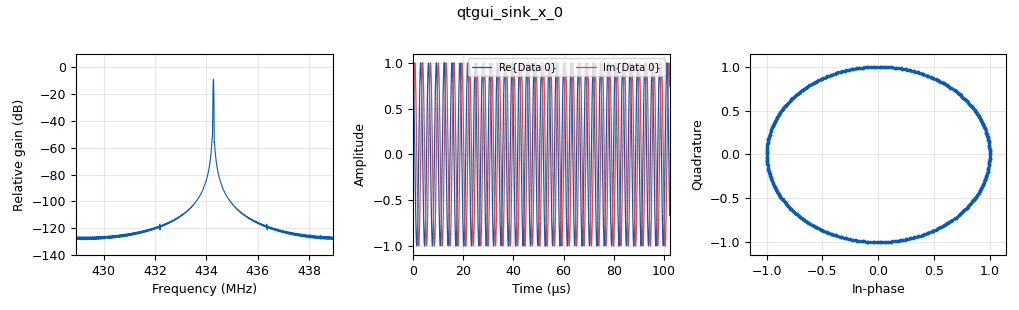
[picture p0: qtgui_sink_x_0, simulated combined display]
options:
  parameters:
    author: kesenheimer
    generate_options: qt_gui
    id: ford_tx_freq
    output_language: python
    title: Not titled yet
  states: {}

blocks:
- name: bits_per_second
  id: variable
  parameters:
    value: '4166'
  states: {}
- name: freq
  id: variable
  parameters:
    value: '433930000'
  states: {}
- name: freq_offset
  id: variable
  parameters:
    value: '330000'
  states: {}
- name: freq_spread
  id: variable
  parameters:
    comment: Distance of the two fsk frequencies
    value: '20000'
  states: {}
- name: payload
  id: variable
  parameters:
    value: str("\x55\x55\x55\x55\x55\x55\x55\x55\x55\x55\x55\x55\x55\x55\x55\x55\x35\x55\x4c\xb5\x2b\x34\xb4\xb3\x2d\x4b\x2b\x53\x4a\xab\x32\xaa\xb2\xb5\x2c\xd2\xd3\x54\xab\x52\xb5\x4b\x41\xff")
  states: {}
- name: samp_rate
  id: variable
  parameters:
    value: '10000000'
  states: {}
- name: sensitivity
  id: variable
  parameters:
    value: 2 * math.pi * freq_spread
  states: {}
- name: analog_sig_source_x_0
  id: analog_sig_source_x
  parameters:
    amp: '1'
    freq: '0'
    offset: '0'
    phase: '0'
    samp_rate: samp_rate
    showports: 'True'
    type: complex
    waveform: analog.GR_COS_WAVE
  states: {}
- name: blocks_add_const_vxx_0
  id: blocks_add_const_vxx
  parameters:
    const: 2 * math.pi * (- freq_spread / 2) / sensitivity
    type: float
  states: {}
- name: blocks_file_sink_0
  id: blocks_file_sink
  parameters:
    file: Simulation_Ford_433.93MHz_10Msps.raw
    type: complex
  states: {state: disabled}
- name: blocks_message_debug_0
  id: blocks_message_debug
  parameters: {}
  states: {state: disabled}
- name: blocks_multiply_const_vxx_0
  id: blocks_multiply_const_vxx
  parameters:
    const: 2 * math.pi * freq_spread / sensitivity
    type: float
  states: {}
- name: blocks_multiply_xx_0
  id: blocks_multiply_xx
  parameters:
    type: complex
  states: {}
- name: blocks_repeat_0
  id: blocks_repeat
  parameters:
    interp: int(samp_rate/bits_per_second)
    type: float
  states: {}
- name: blocks_stream_to_tagged_stream_0
  id: blocks_stream_to_tagged_stream
  parameters:
    len_tag_key: '"packet_len"'
    packet_len: '1'
    type: complex
  states: {state: disabled}
- name: blocks_uchar_to_float_0
  id: blocks_uchar_to_float
  parameters: {}
  states: {}
- name: blocks_unpack_k_bits_bb_0
  id: blocks_unpack_k_bits_bb
  parameters:
    k: '8'
  states: {}
- name: blocks_vco_c_0
  id: blocks_vco_c
  parameters:
    amplitude: '1'
    samp_rate: samp_rate
    sensitivity: "sensitivity\t\t"
  states: {}
- name: epy_block_0
  id: epy_block
  parameters:
    _source_code: |-
      """
      Synchronized fsk message block
      """

      #  epy_block_0.py
      #  created 10/17/2019

      import numpy as np
      from gnuradio import gr
      import pmt
      import threading
      import time

      run = 1

      class fsk_message_sync_block(gr.sync_block):
          def __init__(self, payload: str = "", freq_offset: int = 0, period: int = 1000, pause: int = 50):
              gr.sync_block.__init__(self,
                  name = "Synchronized FSK message block",
                  in_sig = None,
                  out_sig = None) # [np.byte]
              self.message_port_register_in(pmt.intern('msg_in'))
              self.message_port_register_out(pmt.intern('freq'))
              self.message_port_register_out(pmt.intern('payload'))
              self.set_msg_handler(pmt.intern('msg_in'), self.handle_msg)
              self.payload = payload
              self.freq_offset = freq_offset
              self.period = period
              self.pause = pause

          def start(self):
              self.x = threading.Thread(target=self.run, args=())
              print("Starting FSK payload generation thread")
              self.x.start()

          def stop(self):
              print("Stopping FSK payload generation thread")
              global run
              run = 0
              self.x.join()
              return True

          def handle_msg(self, msg):
              print(msg)
          
          def work(self, input_items, output_items):
              #_len = len(self.payload)
              #if _len > 0:
              #    for x in range(_len):
              #        output_items[0][x] = ord(self.payload[x])
              #        return (_len)
              #else:
              #    return 0
              pass

          def send_payload(self, freq_offset):
              freq_msg = pmt.dict_add(pmt.make_dict(), pmt.intern("freq"), pmt.from_double(freq_offset))
              payload_bytes = [ord(i) for i in self.payload]
              payload_msg = pmt.cons(pmt.PMT_NIL, pmt.init_u8vector(len(payload_bytes), payload_bytes))
              self.message_port_pub(pmt.intern('freq'), freq_msg)
              self.message_port_pub(pmt.intern('payload'), payload_msg)

          def run(self):
              global run
              while run:
                  self.send_payload(self.freq_offset)
                  time.sleep(self.pause / 1000)
                  self.send_payload(-self.freq_offset)
                  time.sleep(self.pause / 1000)
                  self.send_payload(self.freq_offset)
                  time.sleep(self.period / 1000)
    freq_offset: freq_offset
    pause: '500'
    payload: payload
    period: '2000'
  states: {}
- name: epy_block_0_0
  id: epy_block
  parameters:
    _source_code: |-
      """
      Synchronized fsk message block
      """

      #  epy_block_0.py
      #  created 10/17/2019

      import numpy as np
      from gnuradio import gr
      import pmt
      import threading
      import time

      class fsk_message_sync_block(gr.sync_block):
          """
          For example:
          payload: Payload string to send
          freq_offset: 
          bits_per_second:
          period: [ms]
          pause: [ms]
          """
          def __init__(self, payload: str = "", freq_offset: int = 0, 
                       bits_per_second: int = 0, period: int = 1000, pause: int = 50):
              gr.sync_block.__init__(self,
                  name = "Synchronized FSK message block",
                  in_sig = None,
                  out_sig = [np.byte])
              self.message_port_register_in(pmt.intern('msg_in'))
              self.message_port_register_out(pmt.intern('freq'))
              self.set_msg_handler(pmt.intern('msg_in'), self.handle_msg)
              self.payload = payload
              self.freq_offset = freq_offset
              self.bits_per_second = bits_per_second
              self.period = period
              self.pause = pause

          def handle_msg(self, msg):
              print(msg)
          
          def set_payload(self, output_items, payload, freq_offset):
              freq_msg = pmt.dict_add(pmt.make_dict(), pmt.intern("freq"), pmt.from_double(freq_offset))
              self.message_port_pub(pmt.intern('freq'), freq_msg)
              _len = len(payload)
              if _len > 0:
                  for x in range(_len):
                      output_items[0][x] = ord(payload[x])
                      return _len
              else:
                  return 0
              

          def work(self, input_items, output_items):
              nitems = self.set_payload(output_items, self.payload, self.freq_offset)
              nbytes_padding = int(self.bits_per_second * self.period / 1000 / 8)
              padding = str(nbytes_padding * "\x00")
              nitems += self.set_payload(output_items, padding, -self.freq_offset)
              return nitems
    bits_per_second: bits_per_second
    freq_offset: freq_offset
    pause: '500'
    payload: payload
    period: '2000'
  states: {state: disabled}
- name: import_0
  id: import
  parameters:
    imports: import math
  states: {}
- name: network_socket_pdu_0
  id: network_socket_pdu
  parameters:
    comment: echo "Hello World" | nc 127.0.0.1 2000 -
    host: 127.0.0.1
    mtu: '100'
    port: '2000'
    tcp_no_delay: 'True'
    type: TCP_SERVER
  states: {state: disabled}
- name: pdu_pdu_to_tagged_stream_0
  id: pdu_pdu_to_tagged_stream
  parameters:
    comment: Note maxoutbuf / minoutbuf = len(payload)
    tag: packet_len
    type: byte
  states: {}
- name: pdu_pdu_to_tagged_stream_1
  id: pdu_pdu_to_tagged_stream
  parameters:
    tag: packet_len
    type: complex
  states: {state: disabled}
- name: pdu_tagged_stream_to_pdu_0
  id: pdu_tagged_stream_to_pdu
  parameters:
    tag: packet_len
    type: complex
  states: {state: disabled}
- name: qtgui_sink_x_0
  id: qtgui_sink_x
  parameters:
    bw: samp_rate
    fc: freq
    fftsize: '1024'
    type: complex
  states: {}
- name: soapy_hackrf_sink_0
  id: soapy_hackrf_sink
  parameters:
    bandwidth: samp_rate
    center_freq: freq
    samp_rate: samp_rate
    type: fc32
    vga: '30'
  states: {}
- name: virtual_sink_0
  id: virtual_sink
  parameters:
    stream_id: data0
  states: {}
- name: virtual_sink_1
  id: virtual_sink
  parameters:
    stream_id: com
  states: {}
- name: virtual_sink_2
  id: virtual_sink
  parameters:
    stream_id: com2
  states: {state: disabled}
- name: virtual_source_0
  id: virtual_source
  parameters:
    stream_id: data0
  states: {}
- name: virtual_source_1
  id: virtual_source
  parameters:
    stream_id: com
  states: {}
- name: xmlrpc_server_0
  id: xmlrpc_server
  parameters:
    addr: localhost
    port: '8080'
  states: {}

connections:
- [analog_sig_source_x_0, '0', blocks_multiply_xx_0, '1']
- [blocks_add_const_vxx_0, '0', virtual_sink_0, '0']
- [blocks_multiply_const_vxx_0, '0', blocks_add_const_vxx_0, '0']
- [blocks_multiply_xx_0, '0', blocks_stream_to_tagged_stream_0, '0']
- [blocks_multiply_xx_0, '0', virtual_sink_1, '0']
- [blocks_repeat_0, '0', blocks_vco_c_0, '0']
- [blocks_stream_to_tagged_stream_0, '0', pdu_tagged_stream_to_pdu_0, '0']
- [blocks_uchar_to_float_0, '0', blocks_multiply_const_vxx_0, '0']
- [blocks_unpack_k_bits_bb_0, '0', blocks_uchar_to_float_0, '0']
- [blocks_vco_c_0, '0', blocks_multiply_xx_0, '0']
- [epy_block_0, freq, analog_sig_source_x_0, cmd]
- [epy_block_0, payload, pdu_pdu_to_tagged_stream_0, pdus]
- [epy_block_0_0, '0', blocks_unpack_k_bits_bb_0, '0']
- [epy_block_0_0, freq, analog_sig_source_x_0, cmd]
- [epy_block_0_0, freq, blocks_message_debug_0, log]
- [network_socket_pdu_0, pdus, pdu_pdu_to_tagged_stream_0, pdus]
- [pdu_pdu_to_tagged_stream_0, '0', blocks_unpack_k_bits_bb_0, '0']
- [pdu_pdu_to_tagged_stream_1, '0', virtual_sink_2, '0']
- [pdu_tagged_stream_to_pdu_0, pdus, pdu_pdu_to_tagged_stream_1, pdus]
- [virtual_source_0, '0', blocks_repeat_0, '0']
- [virtual_source_1, '0', blocks_file_sink_0, '0']
- [virtual_source_1, '0', qtgui_sink_x_0, '0']
- [virtual_source_1, '0', soapy_hackrf_sink_0, '0']

metadata:
  file_format: 1
  grc_version: 3.10.8.0
